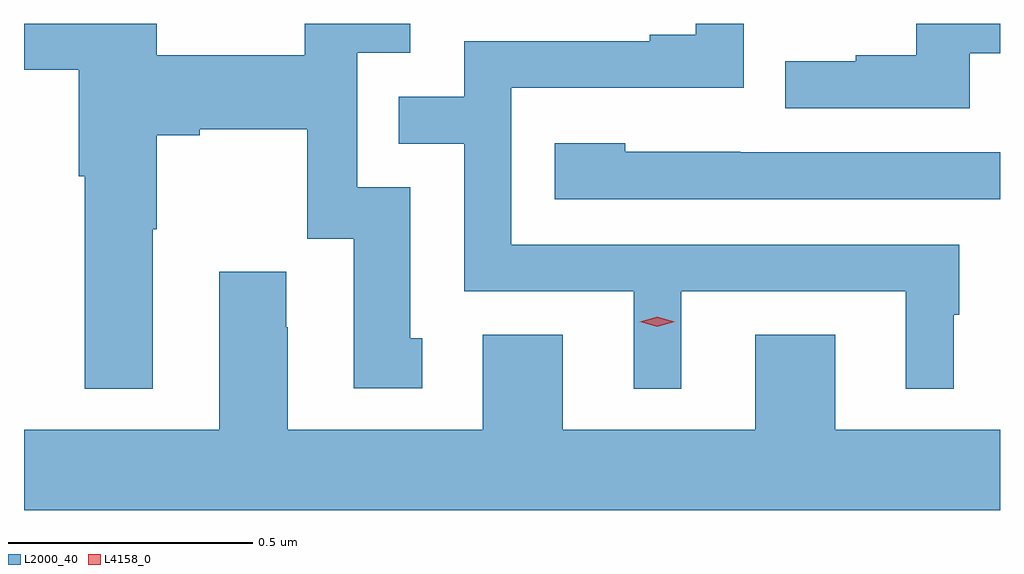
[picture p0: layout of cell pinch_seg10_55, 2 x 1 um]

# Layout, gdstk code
import gdstk
lib = gdstk.Library(unit=1e-6, precision=1e-09)
def P(c, l, *ps):  # polygons
    for p in ps: c.add(gdstk.Polygon(p, *l))
L2000_40 = (2000, 40)
L4158_0 = (4158, 0)

pinch_seg10_55 = lib.new_cell('pinch_seg10_55')
P(pinch_seg10_55, L2000_40, [(845.233,1298.588),(845.295,1298.588),(845.295,1298.648),(845.123,1298.648),(845.123,1298.584),(844.999,1298.584),(844.999,1298.572),(844.855,1298.572),(844.855,1298.475),(845.233,1298.475)],
  [(843.559,1298.227),(843.567,1298.227),(843.567,1298.42),(843.655,1298.42),(843.655,1298.432),(843.875,1298.432),(843.875,1298.208),(843.971,1298.208),(843.971,1297.902),(844.111,1297.902),(844.111,1298.004),(844.087,1298.004),(844.087,1298.313),(843.978,1298.313),(843.978,1298.589),(844.087,1298.589),(844.087,1298.648),(843.87,1298.648),(843.87,1298.584),(843.567,1298.584),(843.567,1298.648),(843.295,1298.648),(843.295,1298.554),(843.407,1298.554),(843.407,1298.336),(843.419,1298.336),(843.419,1297.901),(843.559,1297.901)],
  [(844.642,1298.1),(845.102,1298.1),(845.102,1297.901),(845.2,1297.901),(845.2,1298.052),(845.212,1298.052),(845.212,1298.196),(844.293,1298.196),(844.293,1298.517),(844.77,1298.517),(844.77,1298.648),(844.672,1298.648),(844.672,1298.626),(844.577,1298.626),(844.577,1298.613),(844.197,1298.613),(844.197,1298.499),(844.063,1298.499),(844.063,1298.403),(844.197,1298.403),(844.197,1298.1),(844.544,1298.1),(844.544,1297.901),(844.642,1297.901)],
  [(845.295,1298.385),(844.763,1298.385),(844.763,1298.386),(844.527,1298.386),(844.527,1298.404),(844.383,1298.404),(844.383,1298.289),(845.295,1298.289)],
  [(845.295,1297.816),(844.957,1297.816),(844.957,1298.011),(844.793,1298.011),(844.793,1297.816),(844.399,1297.816),(844.399,1298.011),(844.235,1298.011),(844.235,1297.816),(843.835,1297.816),(843.835,1298.027),(843.832,1298.027),(843.832,1298.14),(843.695,1298.14),(843.695,1297.816),(843.295,1297.816),(843.295,1297.652),(845.295,1297.652)])
P(pinch_seg10_55, L4158_0, [(844.593,1298.028),(844.557,1298.038),(844.557,1298.038),(844.557,1298.038),(844.593,1298.048),(844.628,1298.038),(844.629,1298.038),(844.628,1298.038)])

lib.write_gds('pinch_seg10_55.gds')
